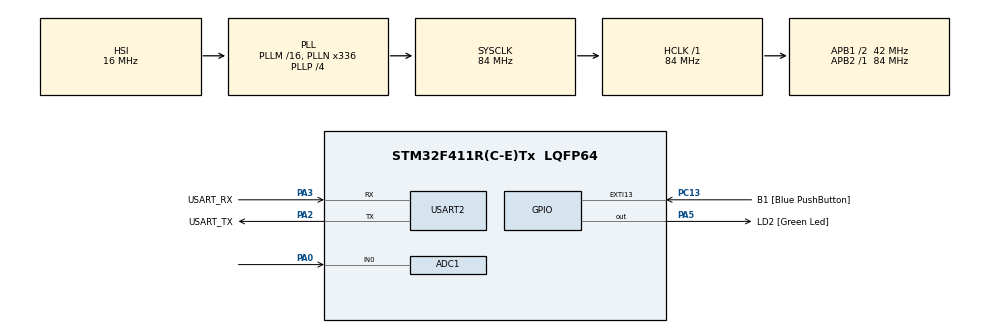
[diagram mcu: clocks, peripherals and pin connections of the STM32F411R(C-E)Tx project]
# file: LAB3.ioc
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ADC1.Channel-0\#ChannelRegularConversion=ADC_CHANNEL_0
ADC1.NbrOfConversionFlag=1
ADC1.Rank-0\#ChannelRegularConversion=1
ADC1.SamplingTime-0\#ChannelRegularConversion=ADC_SAMPLETIME_3CYCLES
ADC1.master=1
Mcu.Family=STM32F4
Mcu.Name=STM32F411R(C-E)Tx
Mcu.Package=LQFP64
NVIC.PriorityGroup=NVIC_PRIORITYGROUP_0
PA0-WKUP.Signal=ADCx_IN0
PA13.GPIO_Label=TMS
PA13.Mode=Serial_Wire
PA13.Signal=SYS_JTMS-SWDIO
PA14.GPIO_Label=TCK
PA14.Mode=Serial_Wire
PA14.Signal=SYS_JTCK-SWCLK
PA2.GPIO_Label=USART_TX
PA2.Mode=Asynchronous
PA2.Signal=USART2_TX
PA3.GPIO_Label=USART_RX
PA3.Mode=Asynchronous
PA3.Signal=USART2_RX
PA5.GPIO_Label=LD2 [Green Led]
PA5.Signal=GPIO_Output
PB3.GPIO_Label=SWO
PB3.Signal=SYS_JTDO-SWO
PC13-ANTI_TAMP.GPIO_Label=B1 [Blue PushButton]
PC13-ANTI_TAMP.GPIO_ModeDefaultEXTI=GPIO_MODE_IT_FALLING
PC13-ANTI_TAMP.Signal=GPXTI13
PC14-OSC32_IN.Mode=LSE-External-Oscillator
PC14-OSC32_IN.Signal=RCC_OSC32_IN
PC15-OSC32_OUT.Mode=LSE-External-Oscillator
PC15-OSC32_OUT.Signal=RCC_OSC32_OUT
PH0\ -\ OSC_IN.Mode=HSE-External-Clock-Source
PH0\ -\ OSC_IN.Signal=RCC_OSC_IN
PH1\ -\ OSC_OUT.Mode=HSE-External-Clock-Source
PH1\ -\ OSC_OUT.Signal=RCC_OSC_OUT
ProjectManager.HeapSize=0x200
ProjectManager.StackSize=0x400
ProjectManager.TargetToolchain=STM32CubeIDE
RCC.48MHZClocksFreq_Value=84000000
RCC.AHBFreq_Value=84000000
RCC.APB1CLKDivider=RCC_HCLK_DIV2
RCC.APB1Freq_Value=42000000
RCC.APB1TimFreq_Value=84000000
RCC.APB2Freq_Value=84000000
RCC.APB2TimFreq_Value=84000000
RCC.CortexFreq_Value=84000000
RCC.FLatency-AdvancedSettings=FLASH_LATENCY_2
RCC.HCLKFreq_Value=84000000
RCC.HSE_VALUE=8000000
RCC.HSI_VALUE=16000000
RCC.PLLN=336
RCC.PLLP=RCC_PLLP_DIV4
RCC.SYSCLKFreq_VALUE=84000000
RCC.SYSCLKSource=RCC_SYSCLKSOURCE_PLLCLK
RCC.VCOOutputFreq_Value=336000000
SH.ADCx_IN0.0=ADC1_IN0,IN0
USART2.VirtualMode=VM_ASYNC
VP_ADC1_TempSens_Input.Mode=IN-TempSens
board=NUCLEO-F411RE

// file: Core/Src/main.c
/* USER CODE BEGIN Header */
/**
  ******************************************************************************
  * @file           : main.c
  * @brief          : Main program body
  ******************************************************************************
  * @attention
  *
  * <h2><center>&copy; Copyright (c) 2021 STMicroelectronics.
  * All rights reserved.</center></h2>
  *
  * This software component is licensed by ST under BSD 3-Clause license,
  * the "License"; You may not use this file except in compliance with the
  * License. You may obtain a copy of the License at:
  *                        opensource.org/licenses/BSD-3-Clause
  *
  ******************************************************************************
  */
/* USER CODE END Header */
#include "main.h"

ADC_HandleTypeDef hadc1;

UART_HandleTypeDef huart2;

/* USER CODE BEGIN PV */

typedef struct
{
	ADC_ChannelConfTypeDef Config ;
	uint32_t Data;
} ADCStructure;

ADCStructure ADCChannel[2] = {0};

float ADCOutputConverted = 0 ;
int ADCMode  = 0 ;
/* USER CODE END PV */

void SystemClock_Config(void);
static void MX_GPIO_Init(void);
static void MX_USART2_UART_Init(void);
static void MX_ADC1_Init(void);
/* USER CODE BEGIN PFP */

void ADCInKeep();
void ADCPollingUpdatre();
void ADCMode_0() ;
void ADCMode_1() ;

/* USER CODE END PFP */

int main(void)
{

  /* MCU Configuration--------------------------------------------------------*/

  /* Reset of all peripherals, Initializes the Flash interface and the Systick. */
  HAL_Init();

  /* Configure the system clock */
  SystemClock_Config();

  /* Initialize all configured peripherals */
  MX_GPIO_Init();
  MX_USART2_UART_Init();
  MX_ADC1_Init();
  /* USER CODE BEGIN 2 */
  GPIO_PinState BlueSwitch[2] ;
  uint32_t Timestamp = 0 ;

  ADCInKeep();

  /* USER CODE END 2 */

  /* Infinite loop */
  /* USER CODE BEGIN WHILE */
  while (1)
  {
	  ADCPollingUpdatre() ;

	  if(HAL_GetTick() - Timestamp >= 100)
	  	  {
		   BlueSwitch[0] = HAL_GPIO_ReadPin(GPIOC, GPIO_PIN_13) ;
		   if(BlueSwitch[1] == GPIO_PIN_SET && BlueSwitch[0] == GPIO_PIN_RESET)
		   {
			   if(ADCMode == 0)
			   {ADCMode = 1;}
			   else
			   {ADCMode = 0;}
		   }
		   BlueSwitch[1] = BlueSwitch[0] ;
	  	  }

	  if(ADCMode == 0)
	  {
		  ADCMode_0();
	  }
	  if(ADCMode == 1)
	  {
		  ADCMode_1();
	  }
	  //uint16 LED = HAL_GPIO_WritePin(GPIOC, GPIO_PIN_13, GPIO_PIN_SET)/
    /* USER CODE END WHILE */

  }
}

void SystemClock_Config(void)
{
  RCC_OscInitTypeDef RCC_OscInitStruct = {0};
  RCC_ClkInitTypeDef RCC_ClkInitStruct = {0};

  /** Configure the main internal regulator output voltage
  */
  __HAL_RCC_PWR_CLK_ENABLE();
  __HAL_PWR_VOLTAGESCALING_CONFIG(PWR_REGULATOR_VOLTAGE_SCALE1);
  /** Initializes the RCC Oscillators according to the specified parameters
  * in the RCC_OscInitTypeDef structure.
  */
  RCC_OscInitStruct.OscillatorType = RCC_OSCILLATORTYPE_HSI;
  RCC_OscInitStruct.HSIState = RCC_HSI_ON;
  RCC_OscInitStruct.HSICalibrationValue = RCC_HSICALIBRATION_DEFAULT;
  RCC_OscInitStruct.PLL.PLLState = RCC_PLL_ON;
  RCC_OscInitStruct.PLL.PLLSource = RCC_PLLSOURCE_HSI;
  RCC_OscInitStruct.PLL.PLLM = 16;
  RCC_OscInitStruct.PLL.PLLN = 336;
  RCC_OscInitStruct.PLL.PLLP = RCC_PLLP_DIV4;
  RCC_OscInitStruct.PLL.PLLQ = 4;
  if (HAL_RCC_OscConfig(&RCC_OscInitStruct) != HAL_OK)
  {
    Error_Handler();
  }
  /** Initializes the CPU, AHB and APB buses clocks
  */
  RCC_ClkInitStruct.ClockType = RCC_CLOCKTYPE_HCLK|RCC_CLOCKTYPE_SYSCLK
                              |RCC_CLOCKTYPE_PCLK1|RCC_CLOCKTYPE_PCLK2;
  RCC_ClkInitStruct.SYSCLKSource = RCC_SYSCLKSOURCE_PLLCLK;
  RCC_ClkInitStruct.AHBCLKDivider = RCC_SYSCLK_DIV1;
  RCC_ClkInitStruct.APB1CLKDivider = RCC_HCLK_DIV2;
  RCC_ClkInitStruct.APB2CLKDivider = RCC_HCLK_DIV1;

  if (HAL_RCC_ClockConfig(&RCC_ClkInitStruct, FLASH_LATENCY_2) != HAL_OK)
  {
    Error_Handler();
  }
}

static void MX_ADC1_Init(void)
{

  ADC_ChannelConfTypeDef sConfig = {0};

  /** Configure the global features of the ADC (Clock, Resolution, Data Alignment and number of conversion)
  */
  hadc1.Instance = ADC1;
  hadc1.Init.ClockPrescaler = ADC_CLOCK_SYNC_PCLK_DIV4;
  hadc1.Init.Resolution = ADC_RESOLUTION_12B;
  hadc1.Init.ScanConvMode = DISABLE;
  hadc1.Init.ContinuousConvMode = DISABLE;
  hadc1.Init.DiscontinuousConvMode = DISABLE;
  hadc1.Init.ExternalTrigConvEdge = ADC_EXTERNALTRIGCONVEDGE_NONE;
  hadc1.Init.ExternalTrigConv = ADC_SOFTWARE_START;
  hadc1.Init.DataAlign = ADC_DATAALIGN_RIGHT;
  hadc1.Init.NbrOfConversion = 1;
  hadc1.Init.DMAContinuousRequests = DISABLE;
  hadc1.Init.EOCSelection = ADC_EOC_SINGLE_CONV;
  if (HAL_ADC_Init(&hadc1) != HAL_OK)
  {
    Error_Handler();
  }
  /** Configure for the selected ADC regular channel its corresponding rank in the sequencer and its sample time.
  */
  sConfig.Channel = ADC_CHANNEL_0;
  sConfig.Rank = 1;
  sConfig.SamplingTime = ADC_SAMPLETIME_3CYCLES;
  if (HAL_ADC_ConfigChannel(&hadc1, &sConfig) != HAL_OK)
  {
    Error_Handler();
  }

}

static void MX_USART2_UART_Init(void)
{

  huart2.Instance = USART2;
  huart2.Init.BaudRate = 115200;
  huart2.Init.WordLength = UART_WORDLENGTH_8B;
  huart2.Init.StopBits = UART_STOPBITS_1;
  huart2.Init.Parity = UART_PARITY_NONE;
  huart2.Init.Mode = UART_MODE_TX_RX;
  huart2.Init.HwFlowCtl = UART_HWCONTROL_NONE;
  huart2.Init.OverSampling = UART_OVERSAMPLING_16;
  if (HAL_UART_Init(&huart2) != HAL_OK)
  {
    Error_Handler();
  }

}

static void MX_GPIO_Init(void)
{
  GPIO_InitTypeDef GPIO_InitStruct = {0};

  /* GPIO Ports Clock Enable */
  __HAL_RCC_GPIOC_CLK_ENABLE();
  __HAL_RCC_GPIOH_CLK_ENABLE();
  __HAL_RCC_GPIOA_CLK_ENABLE();
  __HAL_RCC_GPIOB_CLK_ENABLE();

  /*Configure GPIO pin Output Level */
  HAL_GPIO_WritePin(LD2_GPIO_Port, LD2_Pin, GPIO_PIN_RESET);

  /*Configure GPIO pin : B1_Pin */
  GPIO_InitStruct.Pin = B1_Pin;
  GPIO_InitStruct.Mode = GPIO_MODE_IT_FALLING;
  GPIO_InitStruct.Pull = GPIO_NOPULL;
  HAL_GPIO_Init(B1_GPIO_Port, &GPIO_InitStruct);

  /*Configure GPIO pin : LD2_Pin */
  GPIO_InitStruct.Pin = LD2_Pin;
  GPIO_InitStruct.Mode = GPIO_MODE_OUTPUT_PP;
  GPIO_InitStruct.Pull = GPIO_NOPULL;
  GPIO_InitStruct.Speed = GPIO_SPEED_FREQ_LOW;
  HAL_GPIO_Init(LD2_GPIO_Port, &GPIO_InitStruct);

}

/* USER CODE BEGIN 4 */

void ADCInKeep()
{
	ADCChannel[0].Config.Channel = ADC_CHANNEL_0 ;
	ADCChannel[0].Config.Rank = 1 ;
	ADCChannel[0].Config.SamplingTime = ADC_SAMPLETIME_3CYCLES ;

	ADCChannel[1].Config.Channel = ADC_CHANNEL_TEMPSENSOR ;
	ADCChannel[1].Config.Rank = 1 ;
	ADCChannel[1].Config.SamplingTime = ADC_SAMPLETIME_3CYCLES ;

}
void ADCPollingUpdatre()
{
	for(int i = 0;i < 2;i++)
	{
	//เลือกช่อง
	HAL_ADC_ConfigChannel(&hadc1,&ADCChannel[i].Config) ;
	// Sampling
	HAL_ADC_Start(&hadc1);
	//CPU รอ
	if(HAL_ADC_PollForConversion(&hadc1, 10)== HAL_OK )
		{
			ADCChannel[i].Data = HAL_ADC_GetValue(&hadc1) ; //เก็บค่า
		}
	//Stop
	HAL_ADC_Stop(&hadc1) ;
	}
}

float Vcc  = 3.3 ;
float Vref = 4096 ;

void ADCMode_0()
{
      ADCOutputConverted = ((Vcc/Vref)*ADCChannel[0].Data)*1000 ;
}
float V25 = 0.76 ; //v
float Vvag_Slope = 0.0025 ; //v/c
void  ADCMode_1()
{
	 ADCOutputConverted = ((((Vcc/Vref)*ADCChannel[1].Data)-V25)/Vvag_Slope )+ 25 ;
}
/* USER CODE END 4 */

void Error_Handler(void)
{
  __disable_irq();
  while (1)
  {
  }
}

/************************ (C) COPYRIGHT STMicroelectronics *****END OF FILE****/
